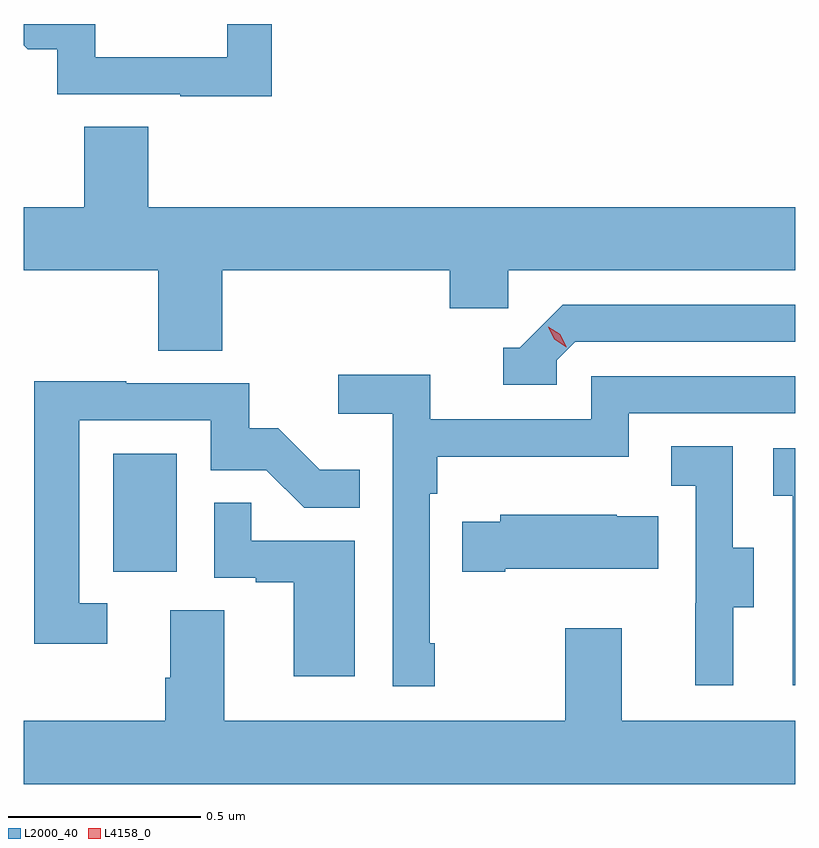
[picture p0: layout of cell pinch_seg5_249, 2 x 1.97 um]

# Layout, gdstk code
import gdstk
lib = gdstk.Library(unit=1e-6, precision=1e-09)
def R(c, l, rs):  # rectangles x0, y0, x1, y1
    for r in rs: c.add(gdstk.rectangle(r[:2], r[2:], *l))
def P(c, l, *ps):  # polygons
    for p in ps: c.add(gdstk.Polygon(p, *l))
L2000_40 = (2000, 40)
L4158_0 = (4158, 0)

pinch_seg5_249 = lib.new_cell('pinch_seg5_249')
R(pinch_seg5_249, L2000_40, [(938.324,905.262,938.488,905.569), (939.894,906.682,940.092,906.683)])
P(pinch_seg5_249, L2000_40, [(938.735,906.683),(938.619,906.683),(938.619,906.597),(938.277,906.597),(938.277,906.683),(938.092,906.683),(938.092,906.628),(938.102,906.618),(938.179,906.618),(938.179,906.501),(938.497,906.501),(938.497,906.496),(938.735,906.496)],
  [(938.606,906.044),(939.197,906.044),(939.197,905.946),(939.348,905.946),(939.348,906.044),(940.092,906.044),(940.092,906.208),(938.414,906.208),(938.414,906.416),(938.249,906.416),(938.249,906.208),(938.092,906.208),(938.092,906.044),(938.441,906.044),(938.441,905.836),(938.606,905.836)],
  [(939.474,905.811),(939.522,905.859),(940.092,905.859),(940.092,905.955),(939.489,905.955),(939.378,905.844),(939.335,905.844),(939.335,905.748),(939.474,905.748)],
  [(939.157,905.077),(939.144,905.077),(939.144,905.465),(939.164,905.465),(939.164,905.561),(939.66,905.561),(939.66,905.673),(940.092,905.673),(940.092,905.769),(939.564,905.769),(939.564,905.658),(939.146,905.658),(939.146,905.774),(938.907,905.774),(938.907,905.672),(939.048,905.672),(939.048,904.965),(939.157,904.965)],
  [(938.308,905.181),(938.235,905.181),(938.235,905.655),(938.577,905.655),(938.577,905.526),(938.721,905.526),(938.819,905.428),(938.963,905.428),(938.963,905.527),(938.859,905.527),(938.752,905.634),(938.676,905.634),(938.676,905.751),(938.357,905.751),(938.357,905.756),(938.119,905.756),(938.119,905.076),(938.308,905.076)],
  [(939.931,905.17),(939.985,905.17),(939.985,905.325),(939.93,905.325),(939.93,905.588),(939.771,905.588),(939.771,905.485),(939.834,905.485),(939.834,905.181),(939.833,905.181),(939.833,904.968),(939.931,904.968)],
  [(940.092,905.583),(940.035,905.583),(940.035,905.459),(940.086,905.459),(940.086,904.968),(940.092,904.968)],
  [(938.95,905.343),(938.681,905.343),(938.681,905.441),(938.586,905.441),(938.586,905.247),(938.693,905.247),(938.693,905.235),(938.792,905.235),(938.792,904.992),(938.95,904.992)],
  [(939.34,905.27),(939.737,905.27),(939.737,905.407),(939.629,905.407),(939.629,905.41),(939.327,905.41),(939.327,905.392),(939.229,905.392),(939.229,905.263),(939.34,905.263)],
  [(940.092,904.876),(939.643,904.876),(939.643,905.116),(939.496,905.116),(939.496,904.876),(938.611,904.876),(938.611,905.162),(938.471,905.162),(938.471,904.988),(938.459,904.988),(938.459,904.876),(938.092,904.876),(938.092,904.712),(940.092,904.712)])
P(pinch_seg5_249, L4158_0, [(939.498,905.845),(939.468,905.865),(939.452,905.898),(939.452,905.898),(939.452,905.898),(939.483,905.878),(939.498,905.846),(939.498,905.845)])

lib.write_gds('pinch_seg5_249.gds')
